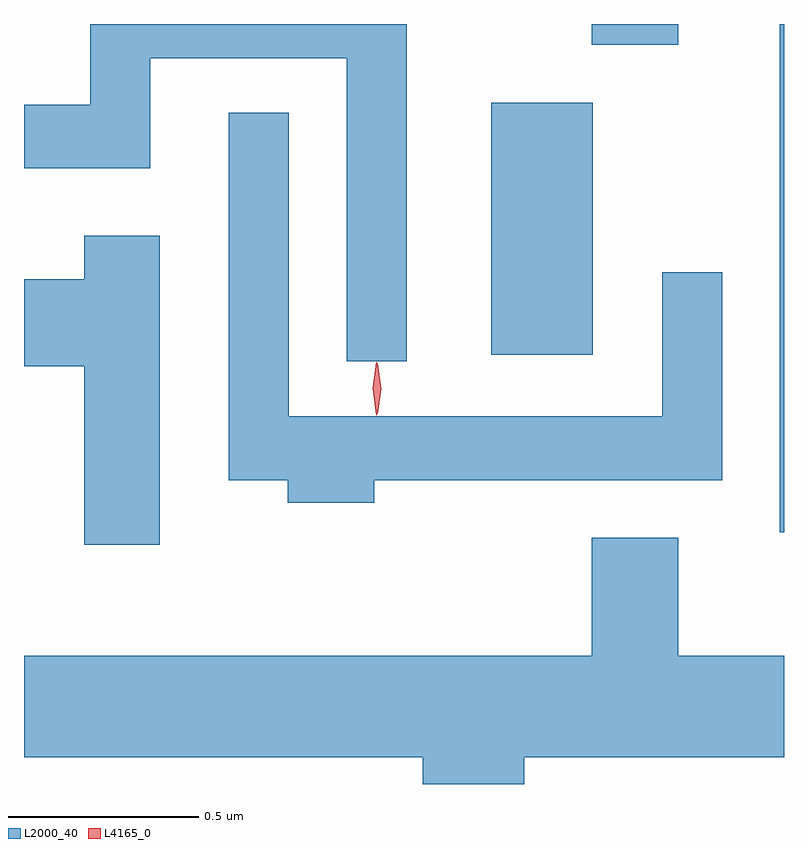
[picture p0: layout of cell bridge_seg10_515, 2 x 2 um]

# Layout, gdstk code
import gdstk
lib = gdstk.Library(unit=1e-6, precision=1e-09)
def R(c, l, rs):  # rectangles x0, y0, x1, y1
    for r in rs: c.add(gdstk.rectangle(r[:2], r[2:], *l))
def P(c, l, *ps):  # polygons
    for p in ps: c.add(gdstk.Polygon(p, *l))
L2000_40 = (2000, 40)
L4165_0 = (4165, 0)

bridge_seg10_515 = lib.new_cell('bridge_seg10_515')
R(bridge_seg10_515, L2000_40, [(915.316,2174.448,915.327,2175.786), (914.556,2174.916,914.824,2175.579), (914.821,2175.731,915.049,2175.786)])
P(bridge_seg10_515, L2000_40, [(914.334,2175.786),(913.501,2175.786),(913.501,2175.574),(913.327,2175.574),(913.327,2175.406),(913.659,2175.406),(913.659,2175.696),(914.176,2175.696),(914.176,2174.898),(914.334,2174.898)],
  [(914.249,2174.586),(915.164,2174.586),(915.164,2175.133),(915.006,2175.133),(915.006,2174.754),(914.024,2174.754),(914.024,2175.553),(913.866,2175.553),(913.866,2174.586),(914.021,2174.586),(914.021,2174.526),(914.249,2174.526)],
  [(913.684,2175.229),(913.486,2175.229),(913.486,2175.114),(913.327,2175.114),(913.327,2174.886),(913.486,2174.886),(913.486,2174.416),(913.684,2174.416)],
  [(914.644,2173.856),(915.327,2173.856),(915.327,2174.124),(915.049,2174.124),(915.049,2174.434),(914.821,2174.434),(914.821,2174.124),(913.327,2174.124),(913.327,2173.856),(914.376,2173.856),(914.376,2173.786),(914.644,2173.786)])
P(bridge_seg10_515, L4165_0, [(914.255,2174.757),(914.254,2174.758),(914.245,2174.827),(914.254,2174.896),(914.255,2174.896),(914.255,2174.896),(914.265,2174.827),(914.255,2174.758)],
  [(914.257,2174.76),(914.248,2174.826),(914.257,2174.892),(914.258,2174.893),(914.258,2174.892),(914.267,2174.826),(914.258,2174.76),(914.258,2174.76)])

lib.write_gds('bridge_seg10_515.gds')
